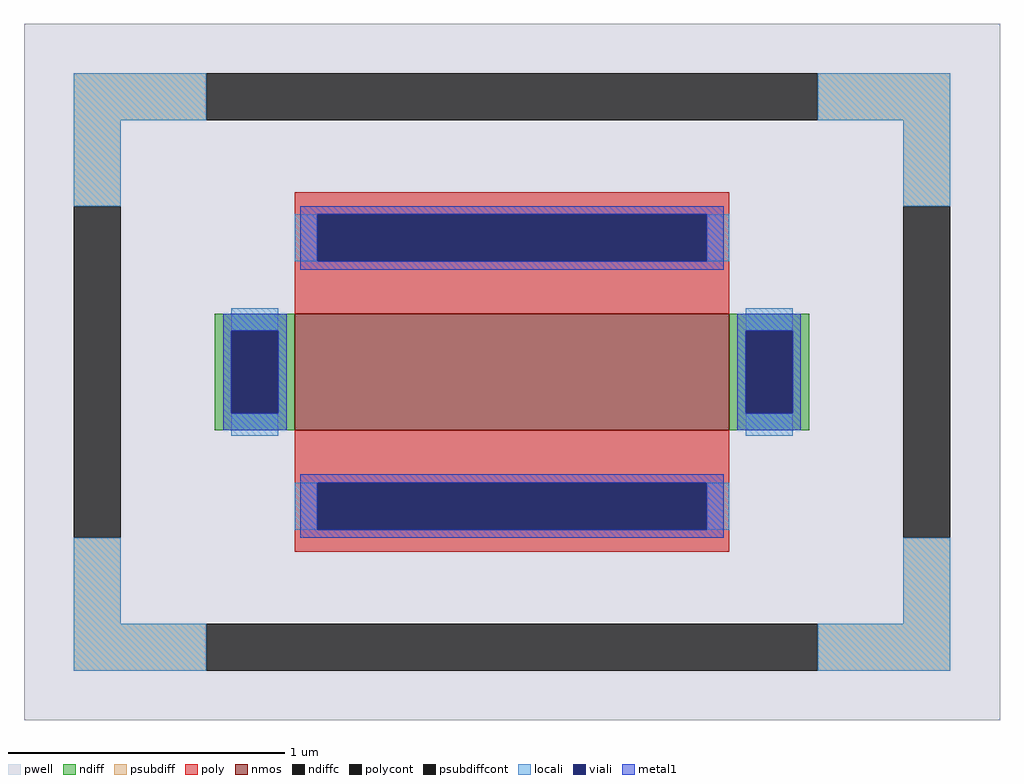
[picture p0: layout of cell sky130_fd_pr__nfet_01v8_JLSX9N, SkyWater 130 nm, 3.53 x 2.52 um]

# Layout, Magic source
magic
tech sky130A
magscale 1 2
<< pwell >>
rect -353 -252 353 252
<< nmos >>
rect -157 -42 157 42
<< ndiff >>
rect -215 30 -157 42
rect -215 -30 -203 30
rect -169 -30 -157 30
rect -215 -42 -157 -30
rect 157 30 215 42
rect 157 -30 169 30
rect 203 -30 215 30
rect 157 -42 215 -30
<< ndiffc >>
rect -203 -30 -169 30
rect 169 -30 203 30
<< psubdiff >>
rect -317 182 -221 216
rect 221 182 317 216
rect -317 120 -283 182
rect 283 120 317 182
rect -317 -182 -283 -120
rect 283 -182 317 -120
rect -317 -216 -221 -182
rect 221 -216 317 -182
<< psubdiffcont >>
rect -221 182 221 216
rect -317 -120 -283 120
rect 283 -120 317 120
rect -221 -216 221 -182
<< poly >>
rect -157 114 157 130
rect -157 80 -141 114
rect 141 80 157 114
rect -157 42 157 80
rect -157 -80 157 -42
rect -157 -114 -141 -80
rect 141 -114 157 -80
rect -157 -130 157 -114
<< polycont >>
rect -141 80 141 114
rect -141 -114 141 -80
<< locali >>
rect -317 182 -221 216
rect 221 182 317 216
rect -317 120 -283 182
rect 283 120 317 182
rect -157 80 -141 114
rect 141 80 157 114
rect -203 30 -169 46
rect -203 -46 -169 -30
rect 169 30 203 46
rect 169 -46 203 -30
rect -157 -114 -141 -80
rect 141 -114 157 -80
rect -317 -182 -283 -120
rect 283 -182 317 -120
rect -317 -216 -221 -182
rect 221 -216 317 -182
<< viali >>
rect -141 80 141 114
rect -203 -30 -169 30
rect 169 -30 203 30
rect -141 -114 141 -80
<< metal1 >>
rect -153 114 153 120
rect -153 80 -141 114
rect 141 80 153 114
rect -153 74 153 80
rect -209 30 -163 42
rect -209 -30 -203 30
rect -169 -30 -163 30
rect -209 -42 -163 -30
rect 163 30 209 42
rect 163 -30 169 30
rect 203 -30 209 30
rect 163 -42 209 -30
rect -153 -80 153 -74
rect -153 -114 -141 -80
rect 141 -114 153 -80
rect -153 -120 153 -114
<< properties >>
string FIXED_BBOX -300 -199 300 199
string gencell sky130_fd_pr__nfet_01v8
string library sky130
string parameters w 0.42 l 1.57 m 1 nf 1 diffcov 100 polycov 100 guard 1 glc 1 grc 1 gtc 1 gbc 1 tbcov 100 rlcov 100 topc 1 botc 1 poverlap 0 doverlap 1 lmin 0.15 wmin 0.42 compatible {sky130_fd_pr__nfet_01v8 sky130_fd_pr__nfet_01v8_lvt  sky130_fd_bs_flash__special_sonosfet_star  sky130_fd_pr__nfet_g5v0d10v5 sky130_fd_pr__nfet_05v0_nvt  sky130_fd_pr__nfet_03v3_nvt} full_metal 1 viasrc 100 viadrn 100 viagate 100 viagb 0 viagr 0 viagl 0 viagt 0
<< end >>
